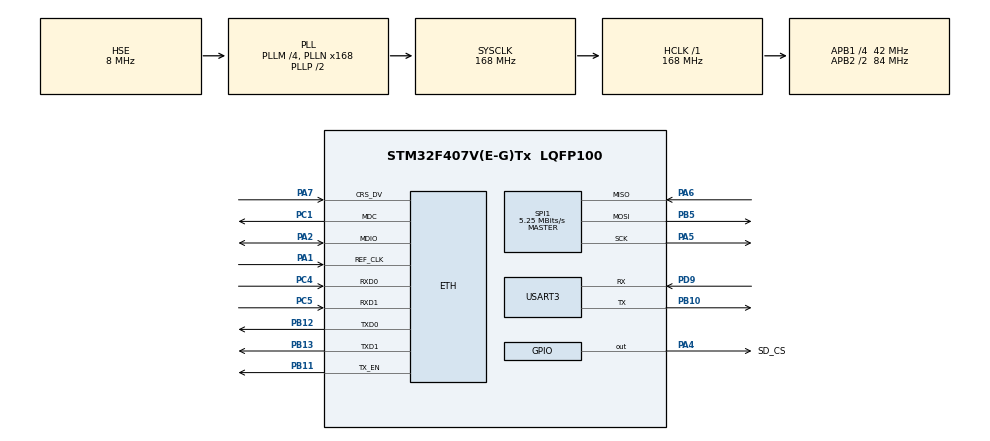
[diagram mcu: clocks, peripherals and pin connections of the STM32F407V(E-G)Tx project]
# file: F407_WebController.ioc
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ETH.MACAddr=DC\:8C\:7C\:30\:34\:6F
ETH.MediaInterface=ETH_MEDIA_INTERFACE_RMII
FATFS._FS_RPATH=2
FATFS._MAX_SS=4096
FATFS._USE_CHMOD=1
FATFS._USE_LFN=2
FREERTOS.Queues01=myQueue,16,struct data_pin_t,0,Static,myQueueBuffer,myQueueControlBlock;usbQueue,16,uint16_t,0,Static,usbQueueBuffer,usbQueueControlBlock
FREERTOS.Tasks01=WebServerTask,0,2048,StartWebServerTask,Default,NULL,Static,WebServerTaskBuffer,WebServerTaskControlBlock;SSIDTask,0,256,StartSSIDTask,Default,NULL,Static,SSIDTaskBuffer,SSIDTaskControlBlock;CronTask,0,512,StartCronTask,Default,NULL,Static,CronTaskBuffer,CronTaskControlBlock;OutputTask,0,512,StartOutputTask,Default,NULL,Static,OutputTaskBuffer,OutputTaskControlBlock;ConfigTask,0,512,StartConfigTask,Default,NULL,Static,ConfigTaskBuffer,ConfigTaskControlBlock;InputTask,0,512,StartInputTask,Default,NULL,Static,InputTaskBuffer,InputTaskControlBlock
FREERTOS.configUSE_NEWLIB_REENTRANT=1
LWIP.GATEWAY_ADDRESS=192.168.018.001
LWIP.IP_ADDRESS=192.168.018.027
LWIP.LWIP_DHCP=0
LWIP.LWIP_HTTPD=1
LWIP.LWIP_HTTPD_CGI=1
LWIP.LWIP_HTTPD_MAX_TAG_INSERT_LEN=1024
LWIP.LWIP_HTTPD_MAX_TAG_NAME_LEN=10
LWIP.LWIP_HTTPD_SSI=1
LWIP.LWIP_HTTPD_SSI_INCLUDE_TAG=0
LWIP.LWIP_HTTPD_SSI_MULTIPART=1
LWIP.LWIP_HTTPD_SSI_RAW=0
LWIP.LWIP_HTTPD_SUPPORT_POST=1
LWIP.LWIP_SNTP=1
LWIP.MEM_SIZE=1024*30
LWIP.NETMASK_ADDRESS=255.255.255.000
LWIP.SNTP_MAX_SERVERS=11
LWIP.SNTP_UPDATE_DELAY=20000
LWIP.Version=v2.1.2_Cube
Mcu.Family=STM32F4
Mcu.Name=STM32F407V(E-G)Tx
Mcu.Package=LQFP100
NVIC.ETH_IRQn=true\:5\:0\:false\:false\:true\:true\:false\:true
NVIC.PriorityGroup=NVIC_PRIORITYGROUP_4
NVIC.TIM8_TRG_COM_TIM14_IRQn=true\:15\:0\:false\:false\:true\:false\:false\:true
NVIC.TimeBase=TIM8_TRG_COM_TIM14_IRQn
NVIC.TimeBaseIP=TIM14
PA1.Mode=RMII
PA1.Signal=ETH_REF_CLK
PA13.Mode=Serial_Wire
PA13.Signal=SYS_JTMS-SWDIO
PA14.Mode=Serial_Wire
PA14.Signal=SYS_JTCK-SWCLK
PA2.Mode=RMII
PA2.Signal=ETH_MDIO
PA4.GPIO_Label=SD_CS
PA4.Signal=GPIO_Output
PA5.Mode=Full_Duplex_Master
PA5.Signal=SPI1_SCK
PA6.Mode=Full_Duplex_Master
PA6.Signal=SPI1_MISO
PA7.Mode=RMII
PA7.Signal=ETH_CRS_DV
PB10.Mode=Asynchronous
PB10.Signal=USART3_TX
PB11.Mode=RMII
PB11.Signal=ETH_TX_EN
PB12.Mode=RMII
PB12.Signal=ETH_TXD0
PB13.Mode=RMII
PB13.Signal=ETH_TXD1
PB5.Mode=Full_Duplex_Master
PB5.Signal=SPI1_MOSI
PC1.Mode=RMII
PC1.Signal=ETH_MDC
PC4.Mode=RMII
PC4.Signal=ETH_RXD0
PC5.Mode=RMII
PC5.Signal=ETH_RXD1
PD9.Mode=Asynchronous
PD9.Signal=USART3_RX
PH0-OSC_IN.Mode=HSE-External-Oscillator
PH0-OSC_IN.Signal=RCC_OSC_IN
PH1-OSC_OUT.Mode=HSE-External-Oscillator
PH1-OSC_OUT.Signal=RCC_OSC_OUT
ProjectManager.HeapSize=0x200
ProjectManager.StackSize=0x400
ProjectManager.TargetToolchain=STM32CubeIDE
RCC.48MHZClocksFreq_Value=48000000
RCC.AHBFreq_Value=168000000
RCC.APB1CLKDivider=RCC_HCLK_DIV4
RCC.APB1Freq_Value=42000000
RCC.APB1TimFreq_Value=84000000
RCC.APB2CLKDivider=RCC_HCLK_DIV2
RCC.APB2Freq_Value=84000000
RCC.APB2TimFreq_Value=168000000
RCC.CortexFreq_Value=168000000
RCC.HCLKFreq_Value=168000000
RCC.HSE_VALUE=8000000
RCC.HSI_VALUE=16000000
RCC.LSE_VALUE=32768
RCC.PLLM=4
RCC.PLLN=168
RCC.PLLQ=7
RCC.PLLSourceVirtual=RCC_PLLSOURCE_HSE
RCC.SYSCLKFreq_VALUE=168000000
RCC.SYSCLKSource=RCC_SYSCLKSOURCE_PLLCLK
RCC.VCOOutputFreq_Value=336000000
SPI1.BaudRatePrescaler=SPI_BAUDRATEPRESCALER_16
SPI1.CalculateBaudRate=5.25 MBits/s
SPI1.Direction=SPI_DIRECTION_2LINES
SPI1.Mode=SPI_MODE_MASTER
SPI1.VirtualType=VM_MASTER
USART3.VirtualMode=VM_ASYNC
VP_FATFS_VS_Generic.Mode=User_defined
VP_FREERTOS_VS_CMSIS_V1.Mode=CMSIS_V1
VP_LWIP_VS_Enabled.Mode=Enabled
VP_RTC_VS_RTC_Activate.Mode=RTC_Enabled
VP_RTC_VS_RTC_Calendar.Mode=RTC_Calendar
VP_SYS_VS_tim14.Mode=TIM14
board=custom

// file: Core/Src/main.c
/* USER CODE BEGIN Header */
/**
  ******************************************************************************
  * @file           : main.c
  * @brief          : Main program body
  ******************************************************************************
  * @attention
  *
  * Copyright (c) 2023 STMicroelectronics.
  * All rights reserved.
  *
  * This software is licensed under terms that can be found in the LICENSE file
  * in the root directory of this software component.
  * If no LICENSE file comes with this software, it is provided AS-IS.
  *
  ******************************************************************************
  */
/* USER CODE END Header */
#include "main.h"
#include "cmsis_os.h"
#include "fatfs.h"
#include "lwip.h"

/* USER CODE BEGIN Includes */
///////////////////////////////////////////
#include "webserver.h"
#include "lwip/apps/httpd.h"
#include <stdio.h>
#include <string.h>
#include <lwip_mqtt.h>
#include "db.h"
#include "lwdtc.h"
#include "cJSON.h"
#include "setings.h"

//uint8_t ucHeap[ configTOTAL_HEAP_SIZE ] __attribute__((section(".ccmram"))) = {0};
/*----------- for CD --------------*/
#define BUFFER_SIZE 128
/* USER CODE END Includes */

/* USER CODE BEGIN PTD */
data_pin_t data_pin;
uint16_t usbnum = 0;
/* USER CODE END PTD */

/* USER CODE BEGIN PM */
// Cron variable
struct tm *timez;
time_t cronetime;
time_t cronetime_old;

/////////////////////////////////
int i = 0;
char str[40] = { 0 };
/* USER CODE END PM */

RTC_HandleTypeDef hrtc;

SPI_HandleTypeDef hspi1;

UART_HandleTypeDef huart3;

osThreadId WebServerTaskHandle;
uint32_t WebServerTaskBuffer[ 2048 ];
osStaticThreadDef_t WebServerTaskControlBlock;
osThreadId SSIDTaskHandle;
uint32_t SSIDTaskBuffer[ 256 ];
osStaticThreadDef_t SSIDTaskControlBlock;
osThreadId CronTaskHandle;
uint32_t CronTaskBuffer[ 512 ];
osStaticThreadDef_t CronTaskControlBlock;
osThreadId OutputTaskHandle;
uint32_t OutputTaskBuffer[ 512 ];
osStaticThreadDef_t OutputTaskControlBlock;
osThreadId ConfigTaskHandle;
uint32_t ConfigTaskBuffer[ 512 ];
osStaticThreadDef_t ConfigTaskControlBlock;
osThreadId InputTaskHandle;
uint32_t InputTaskBuffer[ 512 ];
osStaticThreadDef_t InputTaskControlBlock;
osMessageQId myQueueHandle;
uint8_t myQueueBuffer[ 16 * sizeof( struct data_pin_t ) ];
osStaticMessageQDef_t myQueueControlBlock;
osMessageQId usbQueueHandle;
uint8_t usbQueueBuffer[ 16 * sizeof( uint16_t ) ];
osStaticMessageQDef_t usbQueueControlBlock;
/* USER CODE BEGIN PV */
extern struct dbSettings SetSettings;
extern struct dbCron dbCrontxt[MAXSIZE];
extern struct dbPinsConf PinsConf[NUMPIN];
extern struct dbPinsInfo PinsInfo[NUMPIN];
extern struct dbPinToPin PinsLinks[NUMPINLINKS];

RTC_TimeTypeDef sTime = { 0 };
RTC_DateTypeDef sDate = { 0 };
/* USER CODE END PV */

void SystemClock_Config(void);
static void MX_GPIO_Init(void);
static void MX_RTC_Init(void);
static void MX_USART3_UART_Init(void);
static void MX_SPI1_Init(void);
void StartWebServerTask(void const * argument);
void StartSSIDTask(void const * argument);
void StartCronTask(void const * argument);
void StartOutputTask(void const * argument);
void StartConfigTask(void const * argument);
void StartInputTask(void const * argument);

/* USER CODE BEGIN PFP */
int _write(int file, char *ptr, int len) {
	int i;
	HAL_UART_Transmit(&huart3, (uint8_t*) ptr, len, 50);
	for (i = 0; i < len; i++) {
		ITM_SendChar(*ptr++);
	}
	return len;
}
/* USER CODE END PFP */

/* USER CODE BEGIN 0 */
#ifdef __GNUC__
/* With GCC/RAISONANCE, small printf (option LD Linker->Libraries->Small printf set to 'Yes') calls __io_putchar() */
#define PUTCHAR_PROTOTYPE int __io_putchar(int ch)
#else
#define PUTCHAR_PROTOTYPE int fputc(int ch, FILE *f)
#endif /* __GNUC__ */

//////////
extern struct netif gnetif;
extern char randomSSID[27];

unsigned long Ti;

//////////////////////////////////////????????
mqtt_client_t *client;
char pacote[50];

///*------------------- SD ----------------------*/
FATFS fs;  // file system
//FIL fil; // File
//FRESULT fresult;  // result
//UINT br, bw;  // File read/write count
//#define BUFFER_SIZE 128
//char buffer[BUFFER_SIZE];  // to store strings..
///**** capacity related *****/
//FATFS *pfs;
//DWORD fre_clust;
//uint32_t total, free_space;
//
///* To find the size of data in the bufer */
//int bufsize (char *buf)
//{
//	int i=0;
//	while (*buf++ != '\0') i++;
//	return i;
//}
//
//void clear_buffer (void)
//{
//	for (int i=0; i<BUFFER_SIZE; i++) buffer[i] = '\0';
//}
//
//void send_uart (char *string)
//{
//	uint8_t len = strlen (string);
//	HAL_UART_Transmit(&huart3, (uint8_t *) string, len, HAL_MAX_DELAY);  // transmit in blocking mode
//}
///*-------------------end SD ----------------------*/
/* USER CODE END 0 */

int main(void)
{

  /* MCU Configuration--------------------------------------------------------*/

  /* Reset of all peripherals, Initializes the Flash interface and the Systick. */
  HAL_Init();

  /* Configure the system clock */
  SystemClock_Config();

  /* Initialize all configured peripherals */
  MX_GPIO_Init();
  MX_RTC_Init();
  MX_USART3_UART_Init();
//  MX_FATFS_Init();
  MX_SPI1_Init();

  /* Create the queue(s) */
  /* definition and creation of myQueue */
  osMessageQStaticDef(myQueue, 16, struct data_pin_t, myQueueBuffer, &myQueueControlBlock);
  myQueueHandle = osMessageCreate(osMessageQ(myQueue), NULL);

  /* definition and creation of usbQueue */
  osMessageQStaticDef(usbQueue, 16, uint16_t, usbQueueBuffer, &usbQueueControlBlock);
  usbQueueHandle = osMessageCreate(osMessageQ(usbQueue), NULL);

  /* Create the thread(s) */
  /* definition and creation of WebServerTask */
  osThreadStaticDef(WebServerTask, StartWebServerTask, osPriorityNormal, 0, 2048, WebServerTaskBuffer, &WebServerTaskControlBlock);
  WebServerTaskHandle = osThreadCreate(osThread(WebServerTask), NULL);

  /* definition and creation of SSIDTask */
  osThreadStaticDef(SSIDTask, StartSSIDTask, osPriorityNormal, 0, 256, SSIDTaskBuffer, &SSIDTaskControlBlock);
  SSIDTaskHandle = osThreadCreate(osThread(SSIDTask), NULL);

  /* definition and creation of CronTask */
  osThreadStaticDef(CronTask, StartCronTask, osPriorityNormal, 0, 512, CronTaskBuffer, &CronTaskControlBlock);
  CronTaskHandle = osThreadCreate(osThread(CronTask), NULL);

  /* definition and creation of OutputTask */
  osThreadStaticDef(OutputTask, StartOutputTask, osPriorityNormal, 0, 512, OutputTaskBuffer, &OutputTaskControlBlock);
  OutputTaskHandle = osThreadCreate(osThread(OutputTask), NULL);

  /* definition and creation of ConfigTask */
  osThreadStaticDef(ConfigTask, StartConfigTask, osPriorityNormal, 0, 512, ConfigTaskBuffer, &ConfigTaskControlBlock);
  ConfigTaskHandle = osThreadCreate(osThread(ConfigTask), NULL);

  /* definition and creation of InputTask */
  osThreadStaticDef(InputTask, StartInputTask, osPriorityNormal, 0, 512, InputTaskBuffer, &InputTaskControlBlock);
  InputTaskHandle = osThreadCreate(osThread(InputTask), NULL);

  /* Start scheduler */
  osKernelStart();

  /* We should never get here as control is now taken by the scheduler */
  /* Infinite loop */
  while (1)
  {

  }
}

void SystemClock_Config(void)
{
  RCC_OscInitTypeDef RCC_OscInitStruct = {0};
  RCC_ClkInitTypeDef RCC_ClkInitStruct = {0};

  /** Configure the main internal regulator output voltage
  */
  __HAL_RCC_PWR_CLK_ENABLE();
  __HAL_PWR_VOLTAGESCALING_CONFIG(PWR_REGULATOR_VOLTAGE_SCALE1);
  /** Initializes the RCC Oscillators according to the specified parameters
  * in the RCC_OscInitTypeDef structure.
  */
  RCC_OscInitStruct.OscillatorType = RCC_OSCILLATORTYPE_LSI|RCC_OSCILLATORTYPE_HSE;
  RCC_OscInitStruct.HSEState = RCC_HSE_ON;
  RCC_OscInitStruct.LSIState = RCC_LSI_ON;
  RCC_OscInitStruct.PLL.PLLState = RCC_PLL_ON;
  RCC_OscInitStruct.PLL.PLLSource = RCC_PLLSOURCE_HSE;
  RCC_OscInitStruct.PLL.PLLM = 4;
  RCC_OscInitStruct.PLL.PLLN = 168;
  RCC_OscInitStruct.PLL.PLLP = RCC_PLLP_DIV2;
  RCC_OscInitStruct.PLL.PLLQ = 7;
  if (HAL_RCC_OscConfig(&RCC_OscInitStruct) != HAL_OK)
  {
    Error_Handler();
  }
  /** Initializes the CPU, AHB and APB buses clocks
  */
  RCC_ClkInitStruct.ClockType = RCC_CLOCKTYPE_HCLK|RCC_CLOCKTYPE_SYSCLK
                              |RCC_CLOCKTYPE_PCLK1|RCC_CLOCKTYPE_PCLK2;
  RCC_ClkInitStruct.SYSCLKSource = RCC_SYSCLKSOURCE_PLLCLK;
  RCC_ClkInitStruct.AHBCLKDivider = RCC_SYSCLK_DIV1;
  RCC_ClkInitStruct.APB1CLKDivider = RCC_HCLK_DIV4;
  RCC_ClkInitStruct.APB2CLKDivider = RCC_HCLK_DIV2;

  if (HAL_RCC_ClockConfig(&RCC_ClkInitStruct, FLASH_LATENCY_5) != HAL_OK)
  {
    Error_Handler();
  }
}

static void MX_RTC_Init(void)
{

//  RTC_TimeTypeDef sTime = {0};
//  RTC_DateTypeDef sDate = {0};

  /** Initialize RTC Only
  */
  hrtc.Instance = RTC;
  hrtc.Init.HourFormat = RTC_HOURFORMAT_24;
  hrtc.Init.AsynchPrediv = 127;
  hrtc.Init.SynchPrediv = 255;
  hrtc.Init.OutPut = RTC_OUTPUT_DISABLE;
  hrtc.Init.OutPutPolarity = RTC_OUTPUT_POLARITY_HIGH;
  hrtc.Init.OutPutType = RTC_OUTPUT_TYPE_OPENDRAIN;
  if (HAL_RTC_Init(&hrtc) != HAL_OK)
  {
    Error_Handler();
  }

  /** Initialize RTC and set the Time and Date
  */
  sTime.Hours = 0x0;
  sTime.Minutes = 0x0;
  sTime.Seconds = 0x0;
  sTime.DayLightSaving = RTC_DAYLIGHTSAVING_NONE;
  sTime.StoreOperation = RTC_STOREOPERATION_RESET;
  if (HAL_RTC_SetTime(&hrtc, &sTime, RTC_FORMAT_BCD) != HAL_OK)
  {
    Error_Handler();
  }
  sDate.WeekDay = RTC_WEEKDAY_MONDAY;
  sDate.Month = RTC_MONTH_JANUARY;
  sDate.Date = 0x1;
  sDate.Year = 0x0;

  if (HAL_RTC_SetDate(&hrtc, &sDate, RTC_FORMAT_BCD) != HAL_OK)
  {
    Error_Handler();
  }

}

static void MX_SPI1_Init(void)
{

  /* SPI1 parameter configuration*/
  hspi1.Instance = SPI1;
  hspi1.Init.Mode = SPI_MODE_MASTER;
  hspi1.Init.Direction = SPI_DIRECTION_2LINES;
  hspi1.Init.DataSize = SPI_DATASIZE_8BIT;
  hspi1.Init.CLKPolarity = SPI_POLARITY_LOW;
  hspi1.Init.CLKPhase = SPI_PHASE_1EDGE;
  hspi1.Init.NSS = SPI_NSS_SOFT;
  hspi1.Init.BaudRatePrescaler = SPI_BAUDRATEPRESCALER_16;
  hspi1.Init.FirstBit = SPI_FIRSTBIT_MSB;
  hspi1.Init.TIMode = SPI_TIMODE_DISABLE;
  hspi1.Init.CRCCalculation = SPI_CRCCALCULATION_DISABLE;
  hspi1.Init.CRCPolynomial = 10;
  if (HAL_SPI_Init(&hspi1) != HAL_OK)
  {
    Error_Handler();
  }

}

static void MX_USART3_UART_Init(void)
{

  huart3.Instance = USART3;
  huart3.Init.BaudRate = 115200;
  huart3.Init.WordLength = UART_WORDLENGTH_8B;
  huart3.Init.StopBits = UART_STOPBITS_1;
  huart3.Init.Parity = UART_PARITY_NONE;
  huart3.Init.Mode = UART_MODE_TX_RX;
  huart3.Init.HwFlowCtl = UART_HWCONTROL_NONE;
  huart3.Init.OverSampling = UART_OVERSAMPLING_16;
  if (HAL_UART_Init(&huart3) != HAL_OK)
  {
    Error_Handler();
  }

}

static void MX_GPIO_Init(void)
{
  GPIO_InitTypeDef GPIO_InitStruct = {0};

  /* GPIO Ports Clock Enable */
  __HAL_RCC_GPIOH_CLK_ENABLE();
  __HAL_RCC_GPIOC_CLK_ENABLE();
  __HAL_RCC_GPIOA_CLK_ENABLE();
  __HAL_RCC_GPIOB_CLK_ENABLE();
  __HAL_RCC_GPIOD_CLK_ENABLE();

  /*Configure GPIO pin Output Level */
  HAL_GPIO_WritePin(SD_CS_GPIO_Port, SD_CS_Pin, GPIO_PIN_RESET);

  /*Configure GPIO pin : SD_CS_Pin */
  GPIO_InitStruct.Pin = SD_CS_Pin;
  GPIO_InitStruct.Mode = GPIO_MODE_OUTPUT_PP;
  GPIO_InitStruct.Pull = GPIO_NOPULL;
  GPIO_InitStruct.Speed = GPIO_SPEED_FREQ_LOW;
  HAL_GPIO_Init(SD_CS_GPIO_Port, &GPIO_InitStruct);

}

/* USER CODE BEGIN 4 */
/*************************** Processing functions of SNTP **********************************/
/*!
 * @brief Get the current timestamp
 *
 * @param [in] none
 *
 * @retval current timestamp
 */
uint32_t get_timestamp(void) {
	struct tm stm;
	///The acquisition time must be before the acquisition date

	stm.tm_year = sDate.Year + 100;  //RTC_Year rang 0-99,but tm_year since 1900
	stm.tm_mon = sDate.Month - 1;     //RTC_Month rang 1-12,but tm_mon rang 0-11
	stm.tm_mday = sDate.Date;         //RTC_Date rang 1-31 and tm_mday rang 1-31
	stm.tm_hour = sTime.Hours;       //RTC_Hours rang 0-23 and tm_hour rang 0-23
	stm.tm_min = sTime.Minutes;     //RTC_Minutes rang 0-59 and tm_min rang 0-59
	stm.tm_sec = sTime.Seconds;
	return (mktime(&stm));
}
/*!
 * @brief SNTP Get the processing function of the timestamp
 * Execution conditions: none
 *
 * @param [in]: timestamp obtained by sntp
 *
 * @retval: None
 */
void sntp_set_time(uint32_t sntp_time) {
	char buf[80];

	if (sntp_time == 0) {
		printf("sntp_set_time: wrong!\n");
		return;
	}
	time_t rawtime = sntp_time;

//	sntp_time += (2 * 60 * 60); ///Beijing time is 8 hours in East 8 District
	timez = localtime(&rawtime);

	strftime(buf, sizeof(buf), "%a %Y-%m-%d %H:%M:%S %Z", timez);
	printf("%s \n", buf);
	/*
	 * Set the time of RTC
	 */
	sTime.Hours = timez->tm_hour;
	sTime.Minutes = timez->tm_min;
	sTime.Seconds = timez->tm_sec;
	sTime.DayLightSaving = RTC_DAYLIGHTSAVING_NONE;
	sTime.StoreOperation = RTC_STOREOPERATION_RESET;
	if (HAL_RTC_SetTime(&hrtc, &sTime, RTC_FORMAT_BIN) != HAL_OK) {
		Error_Handler();
	}

	/*
	 * Set the date of RTC
	 */
	sDate.WeekDay = timez->tm_wday;
	sDate.Month = (timez->tm_mon) + 1;
	sDate.Date = timez->tm_mday;
	sDate.Year = (timez->tm_year) - 100;

	if (HAL_RTC_SetDate(&hrtc, &sDate, RTC_FORMAT_BIN) != HAL_OK) {
		Error_Handler();
	}

	printf("RTC time: 20%d-%02d-%02d %d:%d:%d\n", sDate.Year, sDate.Month,
			sDate.Date, sTime.Hours, sTime.Minutes, sTime.Seconds);

//	printf("rtc_get_time: c03, test get = %lu\n", get_timestamp());

}
/*************************** END OF SNTP **********************************/

PUTCHAR_PROTOTYPE {
	/* Place your implementation of fputc here */
	/* e.g. write a character to the USART1 and Loop until the end of transmission */

	HAL_UART_Transmit(&huart3, (uint8_t*) &ch, 1, 0xFFFF);

	return ch;
}

// int pause  0 - до паузы 1 - после паузы
void parse_string(char *str, time_t cronetime_olds, int i, int pause) {
	char *token;
	char *saveptr;
	int flag = 0;
	int k = 0;
	int pin = 0;
	char delim[] = ";";

	// Разбиваем строку на элементы, разделенные точкой с запятой
	token = strtok_r(str, delim, &saveptr);
	while (token != NULL) {
		char *end_token;
		// Если нашли элемент "p", устанавливаем флаг

		if (token[0] == 'p') {
			char *newstring = token + 1;
			//printf("Pause %d seconds\n", atoi(newstring));
			dbCrontxt[i].ptime = cronetime_olds + atoi(newstring);
			flag = 1;
		}
		// в зависимости от флага отправляем в очередь до или после паузы
		if (flag == pause) {
			//printf("%s\n", token);

			//strcpy(data_pin.message, pch);

			char *token2 = strtok_r(token, ":", &end_token);
			//printf("pin = %d\n", atoi(token2));

			while (token2 != NULL) {
				// тут отправляем в очередь
				if (k == 0) {
					pin = atoi(token2);
					if(pin != 0){
						data_pin.pin = pin-1;
					}
					//printf("pin = %s\n", token2);
				}
				if (k == 1) {
					data_pin.action = atoi(token2);
					//printf("action = %s\n", token2);
				}

				token2 = strtok_r(NULL, ":", &end_token);
				k++;
				// printf("action = %d\n", atoi(token2));
			}

			if(k == 2) {
				xQueueSend(myQueueHandle, (void* ) &data_pin, 0);
			}
			k = 0;
		}
		token = strtok_r(NULL, delim, &saveptr);
	}
}
/* USER CODE END 4 */

void StartWebServerTask(void const * argument)
{
  /* init code for LWIP */
	ulTaskNotifyTake(0, portMAX_DELAY);  //
  MX_LWIP_Init();
  /* USER CODE BEGIN 5 */
	http_server_init();
	osDelay(1000);

	client = mqtt_client_new();
	example_do_connect(client, "Zagotovka"); // Подписались на топик"Zagotovka"
	//sprintf(pacote, "Cool, MQTT-client is working!"); // Cобщение на 'MQTT' сервер.
	//example_publish(client, pacote); // Публикуем сообщение.

	osDelay(1000);
	bsp_sntp_init();

	/* Infinite loop */
	for (;;) {
		osDelay(1);
	}
  /* USER CODE END 5 */
}

void StartSSIDTask(void const * argument)
{
  /* USER CODE BEGIN StartSSIDTask */
	ulTaskNotifyTake(0, portMAX_DELAY);
		//
		/* Infinite loop */
		for (;;) {
			if (strlen(randomSSID) != 0) {
				if (HAL_GetTick() - Ti >= 500000) {
					Ti = HAL_GetTick();
					memset(&randomSSID, '\0', sizeof(randomSSID));
				}
			}
			osDelay(1);
		}
  /* USER CODE END StartSSIDTask */
}

void StartCronTask(void const * argument)
{
  /* USER CODE BEGIN StartCronTask */
	ulTaskNotifyTake(0, portMAX_DELAY);

	static lwdtc_cron_ctx_t cron_ctxs[MAXSIZE];

	/* Define context for CRON, used to parse data to */
	size_t fail_index;
	printf("Count task %d\r\n", LWDTC_ARRAYSIZE(dbCrontxt));
	/* Parse all cron strings */
	if (lwdtc_cron_parse_multi(cron_ctxs, dbCrontxt, MAXSIZE, &fail_index)
			!= lwdtcOK) {
		printf("Failed to parse cron at index %d\r\n", (int) fail_index);
	}
	printf("CRONs parsed and ready to go\r\n");

	struct tm stm;
	/* Infinite loop */
	for (;;) {
		if (stm.tm_year != 0) {

			HAL_RTC_GetTime(&hrtc, &sTime, RTC_FORMAT_BIN);
			HAL_RTC_GetDate(&hrtc, &sDate, RTC_FORMAT_BIN);

			stm.tm_year = sDate.Year + 100; //RTC_Year rang 0-99,but tm_year since 1900
			stm.tm_mon = sDate.Month - 1; //RTC_Month rang 1-12,but tm_mon rang 0-11
			stm.tm_mday = sDate.Date; //RTC_Date rang 1-31 and tm_mday rang 1-31
			stm.tm_hour = sTime.Hours; //RTC_Hours rang 0-23 and tm_hour rang 0-23
			stm.tm_min = sTime.Minutes; //RTC_Minutes rang 0-59 and tm_min rang 0-59
			stm.tm_sec = sTime.Seconds;

			cronetime = mktime(&stm);

			if (cronetime != cronetime_old) {
				cronetime_old = cronetime;
				timez = localtime(&cronetime);
				i = 0;

				while (i < LWDTC_ARRAYSIZE(dbCrontxt)) {
					if (cronetime >= dbCrontxt[i].ptime
							&& dbCrontxt[i].ptime != 0) {

						strcpy(str, dbCrontxt[i].activ);
						parse_string(str, cronetime_old, i, 1);
						dbCrontxt[i].ptime = 0;
					}
					i++;
				}
				i = 0;

				/* Check if CRON should execute */
				while (i < LWDTC_ARRAYSIZE(cron_ctxs)) {
					if (lwdtc_cron_is_valid_for_time(timez, cron_ctxs, &i)
							== lwdtcOK) {

						strcpy(str, dbCrontxt[i].activ);
						parse_string(str, cronetime_old, i, 0);
						//xQueueSend(myQueueHandle, &i, 0);
					}
					i++;
				}
			}
			osDelay(1);
		}
	}
  /* USER CODE END StartCronTask */
}

void StartOutputTask(void const * argument)
{
  /* USER CODE BEGIN StartOutputTask */
	ulTaskNotifyTake(0, portMAX_DELAY);
  /* Infinite loop */
  for(;;)
  {
		if (xQueueReceive(myQueueHandle, &data_pin, portMAX_DELAY) == pdTRUE) {
			if (data_pin.action == 0) {
				//@todo  проверить что data_pin.pin число
				HAL_GPIO_WritePin(PinsInfo[data_pin.pin].gpio_name, PinsInfo[data_pin.pin].hal_pin, GPIO_PIN_RESET);
				//printf("%d-%d  \r\n", (int) data_pin.pin, (int) data_pin.action);
			}
			if (data_pin.action == 1) {
				//@todo  проверить что data_pin.pin число
				HAL_GPIO_WritePin(PinsInfo[data_pin.pin].gpio_name, PinsInfo[data_pin.pin].hal_pin, GPIO_PIN_SET);
				//printf("%d-%d  \r\n", (int) data_pin.pin, (int) data_pin.action);
			}
			if (data_pin.action == 2) {
				//@todo  проверить что data_pin.pin число
				HAL_GPIO_TogglePin(PinsInfo[data_pin.pin].gpio_name, PinsInfo[data_pin.pin].hal_pin);
				//printf("%d-%d  \r\n", (int) data_pin.pin, (int) data_pin.action);
			}
		}
    osDelay(1);
  }
  /* USER CODE END StartOutputTask */
}

void StartConfigTask(void const *argument) {
	/* USER CODE BEGIN StartConfigTask */
	int cdflag = 0;
	FRESULT fresult;
	FILINFO finfo;
	//UINT Byteswritten; // File read/write count

	MX_FATFS_Init();

	/*------------------- SD ----------------------*/
	fresult = f_mount(&fs, "/", 1);
	if (fresult != FR_OK) {
		printf("ERROR!!! in mounting SD CARD...\n\n");
		cdflag = 0;
	} else {
		printf("SD CARD mounted successfully...\n\n");
		cdflag = 1;
	}
	/* Infinite loop */
	for (;;) {
		if (cdflag == 1) {
			osDelay(1000);
			printf("SD is mounted & READY! \r\n");
			cdflag = 0;
		}
	/********************* END SD ***************************/

		FRESULT fresult = f_stat("setings.ini", &finfo);
		if (fresult == FR_OK) {
			printf("File 'setings.ini' EXIST! \r\n");
			GetSetingsConfig();
			GetCronConfig();
			GetPinConfig();
			GetPinToPin();

			InitPin();

			xTaskNotifyGive(WebServerTaskHandle); // ТО ВКЛЮЧАЕМ ЗАДАЧУ WebServerTask
			xTaskNotifyGive(SSIDTaskHandle); // И ВКЛЮЧАЕМ ЗАДАЧУ SSIDTask
			xTaskNotifyGive(CronTaskHandle); // И ВКЛЮЧАЕМ ЗАДАЧУ CronTask
			xTaskNotifyGive(OutputTaskHandle); // И ВКЛЮЧАЕМ ЗАДАЧУ OutputTask
			xTaskNotifyGive(InputTaskHandle); // И ВКЛЮЧАЕМ ЗАДАЧУ InputTask

		} else {
			StartSetingsConfig();
			xTaskNotifyGive(WebServerTaskHandle); // ТО ВКЛЮЧАЕМ ЗАДАЧУ WebServerTask
			xTaskNotifyGive(SSIDTaskHandle); // И ВКЛЮЧАЕМ ЗАДАЧУ SSIDTask
			xTaskNotifyGive(CronTaskHandle); // И ВКЛЮЧАЕМ ЗАДАЧУ CronTask
			xTaskNotifyGive(OutputTaskHandle); // И ВКЛЮЧАЕМ ЗАДАЧУ OutputTask
			xTaskNotifyGive(InputTaskHandle); // И ВКЛЮЧАЕМ ЗАДАЧУ InputTask
		}

		/******************************************************************************************/
		// Функция для чтения целых чисел из очереди
		if (xQueueReceive(usbQueueHandle, &usbnum, portMAX_DELAY) == pdTRUE) {
			switch (usbnum) {
			case 1:
				SetPinConfig();
				break;
			case 2:
				SetSetingsConfig();
				break;
			case 3:
				SetCronConfig();
				break;
			case 4:
				SetPinToPin();
				break;
			default:
				//printf("Wrong data! \r\n");
				break;
			}
			printf("+++ Received number: %u\n", usbnum);
			/******************************************************************************************/
			osDelay(1);
		}
		/* USER CODE END StartConfigTask */
	}
}
void StartInputTask(void const * argument)
{
  /* USER CODE BEGIN StartInputTask */
	  ulTaskNotifyTake(0, portMAX_DELAY);

	  uint8_t pinStates[NUMPIN] = {0};
	  uint32_t pinTimes[NUMPIN] = {0};
	  uint32_t millis;

	  /* Infinite loop */
	  for(;;)
	  {
		millis = HAL_GetTick();
		for (uint8_t i = 0; i < NUMPIN; i++) {
			if(PinsConf[i].topin == 1){
				pinStates[i] = HAL_GPIO_ReadPin(PinsInfo[i].gpio_name, PinsInfo[i].hal_pin);
				//printf(" STpin %d \r\n", pinStates[i]);
				if(pinStates[i] == 1 && (millis - pinTimes[i]) >= 200){
					pinTimes[i] = millis;
					//printf(" clicks 1 %lu pin %d \r\n", (unsigned long)pinTimes[i], i);

					for(uint8_t a = 0; a < NUMPINLINKS; a++){
						//printf(" IN %d OUT %d \r\n", PinsLinks[a].idin, PinsLinks[a].idout);
						if(PinsLinks[a].idin == i){
							data_pin.pin = PinsLinks[a].idout;
							data_pin.action = 2;
							xQueueSend(myQueueHandle, (void* ) &data_pin, 0);

						}
					}

				}

			}
		}
	    osDelay(1);
	  }
  /* USER CODE END StartInputTask */
}

void HAL_TIM_PeriodElapsedCallback(TIM_HandleTypeDef *htim)
{
  if (htim->Instance == TIM14) {
    HAL_IncTick();
  }
}

void Error_Handler(void)
{
  __disable_irq();
  while (1)
  {
  }
}
